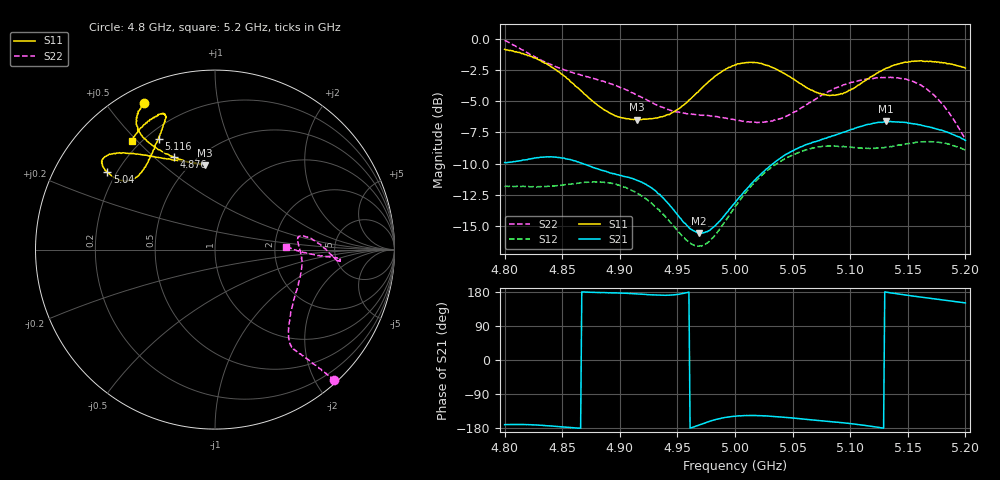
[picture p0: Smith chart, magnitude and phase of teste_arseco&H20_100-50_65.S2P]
! Network Analyzer HP8722D
! Hewlett-Packard
! Data name: Linha & Wilkinson
! Saver's name: Rodrigo Anjos
! Comments: Teste da utilização de aquisição
! continua pelo VNA HP8722D
! Time and date: 6/5/2025 13:06
!  Frequency  S11  S21  S12  S22
# HZ  S  MA R 50
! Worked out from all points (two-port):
!   401 points, 4.8 GHz to 5.2 GHz, reference 50 ohm
!   highest |S21| = -6.62 dB at 5.131 GHz (marker M1); lowest = -15.5 dB at 4.969 GHz (marker M2)
!   |S21| within 3 dB of the highest: 4.822 GHz to 4.854 GHz (31.45 MHz wide, 0.65 % of centre); 5.038 GHz to end of sweep
!   lowest |S11| = -6.5 dB at 4.915 GHz (marker M3), VSWR 2.81, Z = 29.1 + j35.3 ohm
!   |S11| at or under -10 dB: nowhere
!   |S22| runs from -8.0 to -0.1 dB; largest |S21 - S12| = 0.83
!   S11 on the Smith chart (normalised r, x): 4.8 GHz: 0.07, +0.63; 4.876 GHz: 0.38, +0.58; 5.04 GHz: 0.17, +0.31; 5.116 GHz: 0.25, +0.59; 5.2 GHz: 0.17, +0.48
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4.8e9  0.9067 115.7  0.32 -170.5  0.2566 -86.0  0.9837 -47.4
4.821e9  0.8557 120.8  0.3304 -170.7  0.2565 -81.2  0.8724 -48.7
4.836e9  0.7979 122.7  0.3364 -173.3  0.2563 -76.2  0.803 -49.8
4.867e9  0.6147 117.9  0.3176 179.8  0.265 -67.3  0.7138 -51.6
4.876e9  0.5647 114.1  0.3067 178.6  0.2669 -66.2  0.6964 -51.9
4.899e9  0.4868 101.7  0.2854 176.8  0.2601 -66.6  0.6425 -50.2
4.915e9  0.4744 96.6  0.2713 174.4  0.2414 -68.2  0.5941 -46.4
4.934e9  0.4843 99.0  0.2392 171.1  0.207 -69.4  0.5385 -37.4
4.95e9  0.5207 109.6  0.1981 173.1  0.1709 -65.4  0.5089 -26.9
4.969e9  0.6198 123.2  0.167 -171.4  0.1481 -47.8  0.4957 -15.0
4.981e9  0.696 130.0  0.176 -159.2  0.1605 -33.8  0.4895 -8.8
5e9  0.7855 137.2  0.2211 -148.5  0.213 -21.4  0.4735 -0.3
5.019e9  0.8021 141.7  0.2778 -146.8  0.272 -18.4  0.4617 5.8
5.04e9  0.7386 144.3  0.3349 -150.2  0.3242 -18.3  0.4802 9.1
5.067e9  0.6222 141.8  0.3849 -158.0  0.3652 -20.6  0.5626 4.6
5.089e9  0.5973 132.5  0.4145 -164.4  0.3715 -23.7  0.639 -2.0
5.116e9  0.6925 117.0  0.4549 -174.1  0.3643 -26.8  0.6898 -5.3
5.131e9  0.7616 111.8  0.4668 179.1  0.368 -28.2  0.6999 -5.0
5.134e9  0.7686 111.2  0.4655 177.7  0.3694 -28.7  0.7 -4.8
5.16e9  0.8144 112.2  0.4529 166.5  0.3861 -34.7  0.6559 -3.9
5.18e9  0.8009 119.0  0.4296 159.0  0.3836 -40.9  0.5484 -2.9
5.2e9  0.7628 127.2  0.3918 150.6  0.3585 -46.3  0.3967 2.5
